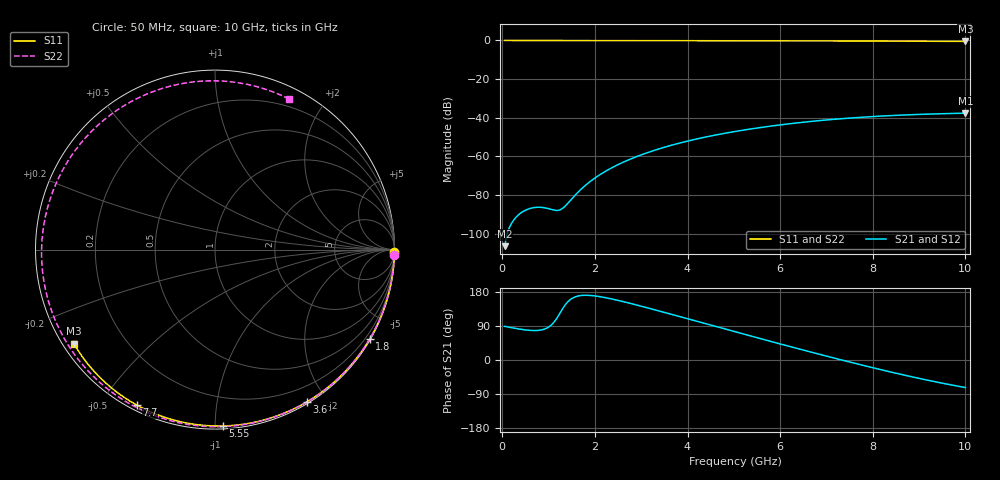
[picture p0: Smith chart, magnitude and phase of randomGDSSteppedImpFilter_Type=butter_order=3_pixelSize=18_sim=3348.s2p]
! freq	dB(S11)	phase(S11)	dB(S12)	phase(S12)
!  dB(S21)	phase(S21)	dB(S22)	phase(S22)
!S-par simulation data
#  GHz  S  DB  R 50
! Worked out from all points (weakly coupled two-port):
!   200 points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, 50 MHz to 10 GHz, reference 50 ohm
!   highest |S21| = -37.64 dB at 10 GHz (marker M1); lowest = -106.5 dB at 50 MHz (marker M2)
!   lowest |S11| = -0.5 dB at 10 GHz (marker M3), VSWR 35.24, Z = 1.55 - j15.1 ohm
!   |S11| at or under -10 dB: nowhere
!   |S22| runs from -0.6 to 0.0 dB; largest |S21 - S12| = 0
!   S11 on the Smith chart (normalised r, x): 50 MHz: open; 1.8 GHz: 0.03, -3.71; 3.6 GHz: 0.02, -1.78; 5.55 GHz: 0.02, -1.04; 7.7 GHz: 0.02, -0.62; 10 GHz: 0.03, -0.30
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0.05  -0.00 -0.9  -106.52 88.9  -106.52 88.9  -0.00 -1.6
0.75  -0.02 -12.7  -86.37 77.9  -86.37 77.9  -0.03 -24.2
1.55  -0.03 -26.0  -80.71 165.4  -80.71 165.4  -0.06 -49.3
1.75  -0.04 -29.3  -75.96 170.7  -75.96 170.7  -0.07 -55.4
1.8  -0.04 -30.1  -74.92 170.9  -74.92 170.9  -0.07 -56.9
2.1  -0.04 -35.0  -69.62 167.3  -69.62 167.3  -0.08 -66.0
2.45  -0.05 -40.7  -64.88 158.7  -64.88 158.7  -0.10 -76.3
2.9  -0.06 -47.9  -60.14 145.2  -60.14 145.2  -0.11 -89.3
3.4  -0.07 -55.7  -56.02 128.9  -56.02 128.9  -0.13 -103.4
3.6  -0.08 -58.8  -54.61 122.3  -54.61 122.3  -0.14 -108.9
4.3  -0.10 -69.4  -50.47 98.8  -50.47 98.8  -0.17 -127.9
5.05  -0.12 -80.4  -47.03 73.7  -47.03 73.7  -0.22 -147.9
5.55  -0.14 -87.5  -45.16 57.1  -45.16 57.1  -0.25 -161.2
6.15  -0.17 -95.9  -43.28 37.5  -43.28 37.5  -0.29 -177.4
6.7  -0.20 -103.4  -41.84 19.8  -41.84 19.8  -0.33 167.4
7.2  -0.23 -110.1  -40.75 4.0  -40.75 4.0  -0.38 153.2
7.7  -0.27 -116.6  -39.85 -11.4  -39.85 -11.4  -0.42 138.4
8.35  -0.32 -125.1  -38.95 -30.6  -38.95 -30.6  -0.47 118.4
8.8  -0.36 -130.9  -38.47 -43.2  -38.47 -43.2  -0.50 103.9
9.2  -0.40 -136.0  -38.14 -53.7  -38.14 -53.7  -0.53 90.7
9.6  -0.45 -141.2  -37.87 -63.6  -37.87 -63.6  -0.56 77.3
10  -0.49 -146.3  -37.64 -72.7  -37.64 -72.7  -0.58 63.7
